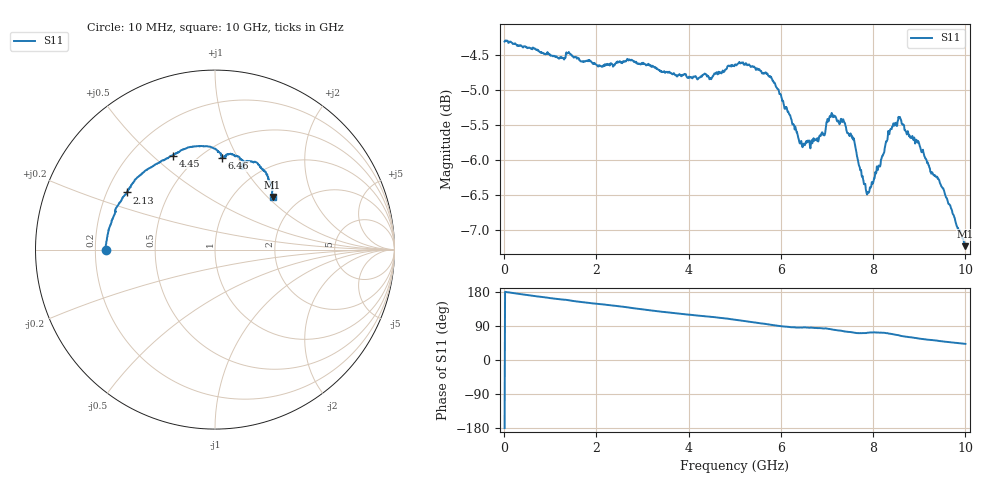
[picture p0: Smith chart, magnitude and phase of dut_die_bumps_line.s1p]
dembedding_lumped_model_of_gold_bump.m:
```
% corrected_open_short_demo_row_layout.m
clear; close all; clc;

%--- 1) Parameters & files --------------------------------------------
Z0 = 50;                                 % reference impedance
f  = (10e6:10e6:10e9).';                % 10 MHz:10 MHz:10 GHz

files = { ...
  'open_line.s1p', ...
  'short_line.s1p', ...
  'dut_die_bumps_line.s1p', ...
  '20250604_die_direct_measurement_after_calibration.s1p' ...
};
labels_raw = {'Open','Short','DUT (line+die+bumps)','Direct die'};

%--- 2) Load & interpolate S11 -------------------------------------
S11 = nan(numel(f), numel(files));
for k = 1:numel(files)
  sp = sparameters(files{k});                     
  f_in = sp.Frequencies;                          
  S_in = squeeze(sp.Parameters(1,1,:));
  S11(:,k) = interp1(f_in, real(S_in), f, 'linear', 'extrap') ...
           + 1j*interp1(f_in, imag(S_in), f, 'linear', 'extrap');
end

% helper for unwrapped phase (degrees)
phase_deg = @(S) unwrap(angle(S)) * 180/pi;

%--- 3) Fig1: raw S11 ---------------------------------------------
figure(1); clf;
subplot(1,3,1)
  smithplot(f, S11)
  title('Raw S_{11} on Smith Plot')
  legend(labels_raw,'Location','southwest')

subplot(1,3,2)
  plot(f/1e9, 20*log10(abs(S11)),'LineWidth',1.5)
  grid on
  xlabel('Freq (GHz)'), ylabel('|S_{11}| (dB)')
  title('Magnitude vs Frequency')
  legend(labels_raw,'Location','southwest')

subplot(1,3,3)
  plot(f/1e9, phase_deg(S11),'LineWidth',1.5)
  grid on
  xlabel('Freq (GHz)'), ylabel('Phase (°)')
  title('Phase vs Frequency')
  legend(labels_raw,'Location','southwest')

%--- 4) Open–short de-embedding -----------------------------------
Z    = @(S) Z0*(1+S)./(1-S);
Zoc  = Z(S11(:,1));    % open
Zsc  = Z(S11(:,2));    % short
Zm   = Z(S11(:,3));    % DUT(line+die+bumps)

Zde  = Zoc .* (Zm - Zsc) ./ (Zoc - Zm);
Sde  = (Zde - Z0)./(Zde + Z0);

%--- 5) Fig2: + Die+bumps ----------------------------------------
figure(2); clf;
subplot(1,3,1)
  smithplot(f, [S11, Sde])
  title('+ De-embedded Die+bumps')
  legend([labels_raw,{'Die+bumps'}],'Location','southwest')

subplot(1,3,2)
  plot(f/1e9, 20*log10(abs([S11, Sde])),'LineWidth',1.5)
  grid on
  xlabel('Freq (GHz)'), ylabel('|S_{11}| (dB)')
  title('Magnitude')
  legend([labels_raw,{'Die+bumps'}],'Location','southwest')

subplot(1,3,3)
  plot(f/1e9, phase_deg([S11, Sde]),'LineWidth',1.5)
  grid on
  xlabel('Freq (GHz)'), ylabel('Phase (°)')
  title('Phase')
  legend([labels_raw,{'Die+bumps'}],'Location','southwest')

%--- 6) Extract 3 bumps ------------------------------------------
Zdie = Z(S11(:,4));       % direct-measured die
Z3b  = Zde - Zdie;        % series subtraction → 3 bumps
S3b  = (Z3b - Z0)./(Z3b + Z0);

%--- 7) Fig3: + 3 bumps -----------------------------------------
figure(3); clf;
subplot(1,3,1)
  smithplot(f, [S11, Sde, S3b])
  title('+ 3 Gold Bumps')
  legend([labels_raw,{'Die+bumps','3 bumps'}],'Location','southwest')

subplot(1,3,2)
  plot(f/1e9, 20*log10(abs([S11, Sde, S3b])),'LineWidth',1.5)
  grid on
  xlabel('Freq (GHz)'), ylabel('|S_{11}| (dB)')
  title('Magnitude')
  legend([labels_raw,{'Die+bumps','3 bumps'}],'Location','southwest')

subplot(1,3,3)
  plot(f/1e9, phase_deg([S11, Sde, S3b]),'LineWidth',1.5)
  grid on
  xlabel('Freq (GHz)'), ylabel('Phase (°)')
  title('Phase')
  legend([labels_raw,{'Die+bumps','3 bumps'}],'Location','southwest')

%--- 8) Single-bump extraction ---------------------------------
Z1b = (2/3) * Z3b;               % single bump from series+parallel model
S1b = (Z1b - Z0) ./ (Z1b + Z0);

%--- 9) Fig4: + single bump ------------------------------------
figure(4); clf;
subplot(1,3,1)
  smithplot(f, [S11, Sde, S3b, S1b])
  title('+ Single Gold Bump')
  legend([labels_raw,{'Die+bumps','3 bumps','1 bump'}],'Location','southwest')

subplot(1,3,2)
  plot(f/1e9, 20*log10(abs([S11, Sde, S3b, S1b])),'LineWidth',1.5)
  grid on
  xlabel('Freq (GHz)'), ylabel('|S_{11}| (dB)')
  title('Magnitude')
  legend([labels_raw,{'Die+bumps','3 bumps','1 bump'}],'Location','southwest')

subplot(1,3,3)
  plot(f/1e9, phase_deg([S11, Sde, S3b, S1b]),'LineWidth',1.5)
  grid on
  xlabel('Freq (GHz)'), ylabel('Phase (°)')
  title('Phase')
  legend([labels_raw,{'Die+bumps','3 bumps','1 bump'}],'Location','southwest')
```
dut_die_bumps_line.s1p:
!Keysight Technologies,N5247B,MY60213743,A.16.20.04
!Date: Thursday, June 05, 2025 15:18:02
!Correction: S11(C  1-Port  )
!S1P File: Measurement: S11:
# Hz S  RI  R 50
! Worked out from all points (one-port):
!   1000 points, 10 MHz to 10 GHz, reference 50 ohm
!   lowest |S11| = -7.2 dB at 10 GHz (marker M1), VSWR 2.54, Z = 74 + j53.6 ohm
!   |S11| at or under -10 dB: nowhere
!   S11 on the Smith chart (normalised r, x): 10 MHz: 0.24, -0.00; 2.13 GHz: 0.28, +0.27; 4.45 GHz: 0.38, +0.58; 6.46 GHz: 0.62, +0.86; 10 GHz: 1.48, +1.07
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1e7  -0.6092 -0.0026
2.13e9  -0.4902 0.3186
3.34e9  -0.3617 0.4556
4.45e9  -0.2319 0.5234
5.52e9  -0.0775 0.5772
6.46e9  0.0397 0.5109
6.67e9  0.0439 0.516
7.14e9  0.0946 0.5306
7.63e9  0.1647 0.4821
7.89e9  0.147 0.4523
8.21e9  0.1573 0.4796
8.53e9  0.2161 0.4884
9.12e9  0.2917 0.4107
1e10  0.3204 0.294
